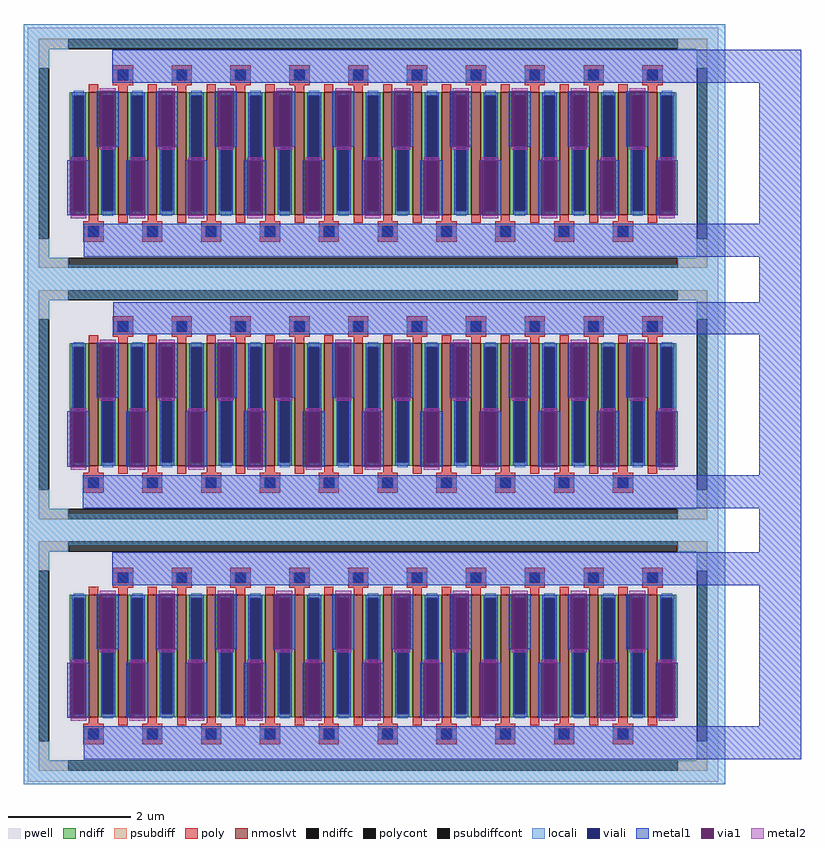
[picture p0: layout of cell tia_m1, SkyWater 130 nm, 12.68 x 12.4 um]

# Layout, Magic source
magic
tech sky130A
magscale 1 2
<< locali >>
rect 1688 376 3976 452
rect 1688 -336 1764 376
rect 3888 -336 3976 376
rect 1688 -444 3976 -336
rect 1688 -1148 1764 -444
rect 3888 -1148 3976 -444
rect 1688 -1248 3976 -1148
rect 1688 -1952 1764 -1248
rect 3888 -1952 3976 -1248
rect 1688 -2028 3976 -1952
<< metal1 >>
rect 1976 260 4224 368
rect 1926 52 1936 232
rect 1988 52 1998 232
rect 2118 52 2128 232
rect 2180 52 2190 232
rect 2310 52 2320 232
rect 2372 52 2382 232
rect 2502 52 2512 232
rect 2564 52 2574 232
rect 2694 52 2704 232
rect 2756 52 2766 232
rect 2886 52 2896 232
rect 2948 52 2958 232
rect 3078 52 3088 232
rect 3140 52 3150 232
rect 3270 52 3280 232
rect 3332 52 3342 232
rect 3462 52 3472 232
rect 3524 52 3534 232
rect 3654 52 3664 232
rect 3716 52 3726 232
rect 1830 -172 1840 8
rect 1892 -172 1902 8
rect 2022 -172 2032 8
rect 2084 -172 2094 8
rect 2214 -172 2224 8
rect 2276 -172 2286 8
rect 2406 -172 2416 8
rect 2468 -172 2478 8
rect 2598 -172 2608 8
rect 2660 -172 2670 8
rect 2790 -172 2800 8
rect 2852 -172 2862 8
rect 2982 -172 2992 8
rect 3044 -172 3054 8
rect 3174 -172 3184 8
rect 3236 -172 3246 8
rect 3366 -172 3376 8
rect 3428 -172 3438 8
rect 3558 -172 3568 8
rect 3620 -172 3630 8
rect 3750 -172 3760 8
rect 3812 -172 3822 8
rect 4088 -200 4224 260
rect 1884 -308 4224 -200
rect 4088 -456 4224 -308
rect 1980 -560 4224 -456
rect 1926 -768 1936 -588
rect 1988 -768 1998 -588
rect 2118 -768 2128 -588
rect 2180 -768 2190 -588
rect 2310 -768 2320 -588
rect 2372 -768 2382 -588
rect 2502 -768 2512 -588
rect 2564 -768 2574 -588
rect 2694 -768 2704 -588
rect 2756 -768 2766 -588
rect 2886 -768 2896 -588
rect 2948 -768 2958 -588
rect 3078 -768 3088 -588
rect 3140 -768 3150 -588
rect 3270 -768 3280 -588
rect 3332 -768 3342 -588
rect 3462 -768 3472 -588
rect 3524 -768 3534 -588
rect 3654 -768 3664 -588
rect 3716 -768 3726 -588
rect 1830 -992 1840 -812
rect 1892 -992 1902 -812
rect 2022 -992 2032 -812
rect 2084 -992 2094 -812
rect 2214 -992 2224 -812
rect 2276 -992 2286 -812
rect 2406 -992 2416 -812
rect 2468 -992 2478 -812
rect 2598 -992 2608 -812
rect 2660 -992 2670 -812
rect 2790 -992 2800 -812
rect 2852 -992 2862 -812
rect 2982 -992 2992 -812
rect 3044 -992 3054 -812
rect 3174 -992 3184 -812
rect 3236 -992 3246 -812
rect 3366 -992 3376 -812
rect 3428 -992 3438 -812
rect 3558 -992 3568 -812
rect 3620 -992 3630 -812
rect 3750 -992 3760 -812
rect 3812 -992 3822 -812
rect 4088 -1020 4224 -560
rect 1880 -1128 4224 -1020
rect 4088 -1272 4224 -1128
rect 1976 -1380 4224 -1272
rect 1926 -1588 1936 -1408
rect 1988 -1588 1998 -1408
rect 2118 -1588 2128 -1408
rect 2180 -1588 2190 -1408
rect 2310 -1588 2320 -1408
rect 2372 -1588 2382 -1408
rect 2502 -1588 2512 -1408
rect 2564 -1588 2574 -1408
rect 2694 -1588 2704 -1408
rect 2756 -1588 2766 -1408
rect 2886 -1588 2896 -1408
rect 2948 -1588 2958 -1408
rect 3078 -1588 3088 -1408
rect 3140 -1588 3150 -1408
rect 3270 -1588 3280 -1408
rect 3332 -1588 3342 -1408
rect 3462 -1588 3472 -1408
rect 3524 -1588 3534 -1408
rect 3654 -1588 3664 -1408
rect 3716 -1588 3726 -1408
rect 1830 -1812 1840 -1632
rect 1892 -1812 1902 -1632
rect 2022 -1812 2032 -1632
rect 2084 -1812 2094 -1632
rect 2214 -1812 2224 -1632
rect 2276 -1812 2286 -1632
rect 2406 -1812 2416 -1632
rect 2468 -1812 2478 -1632
rect 2598 -1812 2608 -1632
rect 2660 -1812 2670 -1632
rect 2790 -1812 2800 -1632
rect 2852 -1812 2862 -1632
rect 2982 -1812 2992 -1632
rect 3044 -1812 3054 -1632
rect 3174 -1812 3184 -1632
rect 3236 -1812 3246 -1632
rect 3366 -1812 3376 -1632
rect 3428 -1812 3438 -1632
rect 3558 -1812 3568 -1632
rect 3620 -1812 3630 -1632
rect 3750 -1812 3760 -1632
rect 3812 -1812 3822 -1632
rect 4088 -1840 4224 -1380
rect 1884 -1948 4224 -1840
<< via1 >>
rect 1936 52 1988 232
rect 2128 52 2180 232
rect 2320 52 2372 232
rect 2512 52 2564 232
rect 2704 52 2756 232
rect 2896 52 2948 232
rect 3088 52 3140 232
rect 3280 52 3332 232
rect 3472 52 3524 232
rect 3664 52 3716 232
rect 1840 -172 1892 8
rect 2032 -172 2084 8
rect 2224 -172 2276 8
rect 2416 -172 2468 8
rect 2608 -172 2660 8
rect 2800 -172 2852 8
rect 2992 -172 3044 8
rect 3184 -172 3236 8
rect 3376 -172 3428 8
rect 3568 -172 3620 8
rect 3760 -172 3812 8
rect 1936 -768 1988 -588
rect 2128 -768 2180 -588
rect 2320 -768 2372 -588
rect 2512 -768 2564 -588
rect 2704 -768 2756 -588
rect 2896 -768 2948 -588
rect 3088 -768 3140 -588
rect 3280 -768 3332 -588
rect 3472 -768 3524 -588
rect 3664 -768 3716 -588
rect 1840 -992 1892 -812
rect 2032 -992 2084 -812
rect 2224 -992 2276 -812
rect 2416 -992 2468 -812
rect 2608 -992 2660 -812
rect 2800 -992 2852 -812
rect 2992 -992 3044 -812
rect 3184 -992 3236 -812
rect 3376 -992 3428 -812
rect 3568 -992 3620 -812
rect 3760 -992 3812 -812
rect 1936 -1588 1988 -1408
rect 2128 -1588 2180 -1408
rect 2320 -1588 2372 -1408
rect 2512 -1588 2564 -1408
rect 2704 -1588 2756 -1408
rect 2896 -1588 2948 -1408
rect 3088 -1588 3140 -1408
rect 3280 -1588 3332 -1408
rect 3472 -1588 3524 -1408
rect 3664 -1588 3716 -1408
rect 1840 -1812 1892 -1632
rect 2032 -1812 2084 -1632
rect 2224 -1812 2276 -1632
rect 2416 -1812 2468 -1632
rect 2608 -1812 2660 -1632
rect 2800 -1812 2852 -1632
rect 2992 -1812 3044 -1632
rect 3184 -1812 3236 -1632
rect 3376 -1812 3428 -1632
rect 3568 -1812 3620 -1632
rect 3760 -1812 3812 -1632
<< metal2 >>
rect 1936 232 1988 242
rect 1936 42 1988 52
rect 2128 232 2180 242
rect 2128 42 2180 52
rect 2320 232 2372 242
rect 2320 42 2372 52
rect 2512 232 2564 242
rect 2512 42 2564 52
rect 2704 232 2756 242
rect 2704 42 2756 52
rect 2896 232 2948 242
rect 2896 42 2948 52
rect 3088 232 3140 242
rect 3088 42 3140 52
rect 3280 232 3332 242
rect 3280 42 3332 52
rect 3472 232 3524 242
rect 3472 42 3524 52
rect 3664 232 3716 242
rect 3664 42 3716 52
rect 1840 8 1892 18
rect 1840 -182 1892 -172
rect 2032 8 2084 18
rect 2032 -182 2084 -172
rect 2224 8 2276 18
rect 2224 -182 2276 -172
rect 2416 8 2468 18
rect 2416 -182 2468 -172
rect 2608 8 2660 18
rect 2608 -182 2660 -172
rect 2800 8 2852 18
rect 2800 -182 2852 -172
rect 2992 8 3044 18
rect 2992 -182 3044 -172
rect 3184 8 3236 18
rect 3184 -182 3236 -172
rect 3376 8 3428 18
rect 3376 -182 3428 -172
rect 3568 8 3620 18
rect 3568 -182 3620 -172
rect 3760 8 3812 18
rect 3760 -182 3812 -172
rect 1936 -588 1988 -578
rect 1936 -778 1988 -768
rect 2128 -588 2180 -578
rect 2128 -778 2180 -768
rect 2320 -588 2372 -578
rect 2320 -778 2372 -768
rect 2512 -588 2564 -578
rect 2512 -778 2564 -768
rect 2704 -588 2756 -578
rect 2704 -778 2756 -768
rect 2896 -588 2948 -578
rect 2896 -778 2948 -768
rect 3088 -588 3140 -578
rect 3088 -778 3140 -768
rect 3280 -588 3332 -578
rect 3280 -778 3332 -768
rect 3472 -588 3524 -578
rect 3472 -778 3524 -768
rect 3664 -588 3716 -578
rect 3664 -778 3716 -768
rect 1840 -812 1892 -802
rect 1840 -1002 1892 -992
rect 2032 -812 2084 -802
rect 2032 -1002 2084 -992
rect 2224 -812 2276 -802
rect 2224 -1002 2276 -992
rect 2416 -812 2468 -802
rect 2416 -1002 2468 -992
rect 2608 -812 2660 -802
rect 2608 -1002 2660 -992
rect 2800 -812 2852 -802
rect 2800 -1002 2852 -992
rect 2992 -812 3044 -802
rect 2992 -1002 3044 -992
rect 3184 -812 3236 -802
rect 3184 -1002 3236 -992
rect 3376 -812 3428 -802
rect 3376 -1002 3428 -992
rect 3568 -812 3620 -802
rect 3568 -1002 3620 -992
rect 3760 -812 3812 -802
rect 3760 -1002 3812 -992
rect 1936 -1408 1988 -1398
rect 1936 -1598 1988 -1588
rect 2128 -1408 2180 -1398
rect 2128 -1598 2180 -1588
rect 2320 -1408 2372 -1398
rect 2320 -1598 2372 -1588
rect 2512 -1408 2564 -1398
rect 2512 -1598 2564 -1588
rect 2704 -1408 2756 -1398
rect 2704 -1598 2756 -1588
rect 2896 -1408 2948 -1398
rect 2896 -1598 2948 -1588
rect 3088 -1408 3140 -1398
rect 3088 -1598 3140 -1588
rect 3280 -1408 3332 -1398
rect 3280 -1598 3332 -1588
rect 3472 -1408 3524 -1398
rect 3472 -1598 3524 -1588
rect 3664 -1408 3716 -1398
rect 3664 -1598 3716 -1588
rect 1840 -1632 1892 -1622
rect 1840 -1822 1892 -1812
rect 2032 -1632 2084 -1622
rect 2032 -1822 2084 -1812
rect 2224 -1632 2276 -1622
rect 2224 -1822 2276 -1812
rect 2416 -1632 2468 -1622
rect 2416 -1822 2468 -1812
rect 2608 -1632 2660 -1622
rect 2608 -1822 2660 -1812
rect 2800 -1632 2852 -1622
rect 2800 -1822 2852 -1812
rect 2992 -1632 3044 -1622
rect 2992 -1822 3044 -1812
rect 3184 -1632 3236 -1622
rect 3184 -1822 3236 -1812
rect 3376 -1632 3428 -1622
rect 3376 -1822 3428 -1812
rect 3568 -1632 3620 -1622
rect 3568 -1822 3620 -1812
rect 3760 -1632 3812 -1622
rect 3760 -1822 3812 -1812
use sky130_fd_pr__nfet_01v8_lvt_SDPJLJ  sky130_fd_pr__nfet_01v8_lvt_SDPJLJ_0
transform 1 0 2827 0 1 -790
box -1127 -410 1127 410
use sky130_fd_pr__nfet_01v8_lvt_SDPJLJ  sky130_fd_pr__nfet_01v8_lvt_SDPJLJ_1
transform 1 0 2827 0 1 -1610
box -1127 -410 1127 410
use sky130_fd_pr__nfet_01v8_lvt_SDPJLJ  sky130_fd_pr__nfet_01v8_lvt_SDPJLJ_2
transform 1 0 2827 0 1 30
box -1127 -410 1127 410
<< end >>

# cell sky130_fd_pr__nfet_01v8_lvt_SDPJLJ: kit device sky130_fd_pr__nfet_01v8_lvt, w 2 l 0.150 m 1 nf 20 diffcov 100 polycov 100 guard 1 glc 1 grc 1 gtc 1 gbc 1 tbcov 100 rlcov 100 topc 1 botc 1 poverlap 0 doverlap 1 lmin 0.15 wmin 0.42 compatible {sky130_fd_pr__nfet_01v8 sky130_fd_pr__nfet_01v8_lvt sky130_fd_bs_flash__special_sonosfet_star sky130_fd_pr__nfet_g5v0d10v5 sky130_fd_pr__nfet_05v0_nvt sky130_fd_pr__nfet_03v3_nvt} full_metal 1 viasrc 100 viadrn 100 viagate 100 viagb 0 viagr 0 viagl 0 viagt 0
